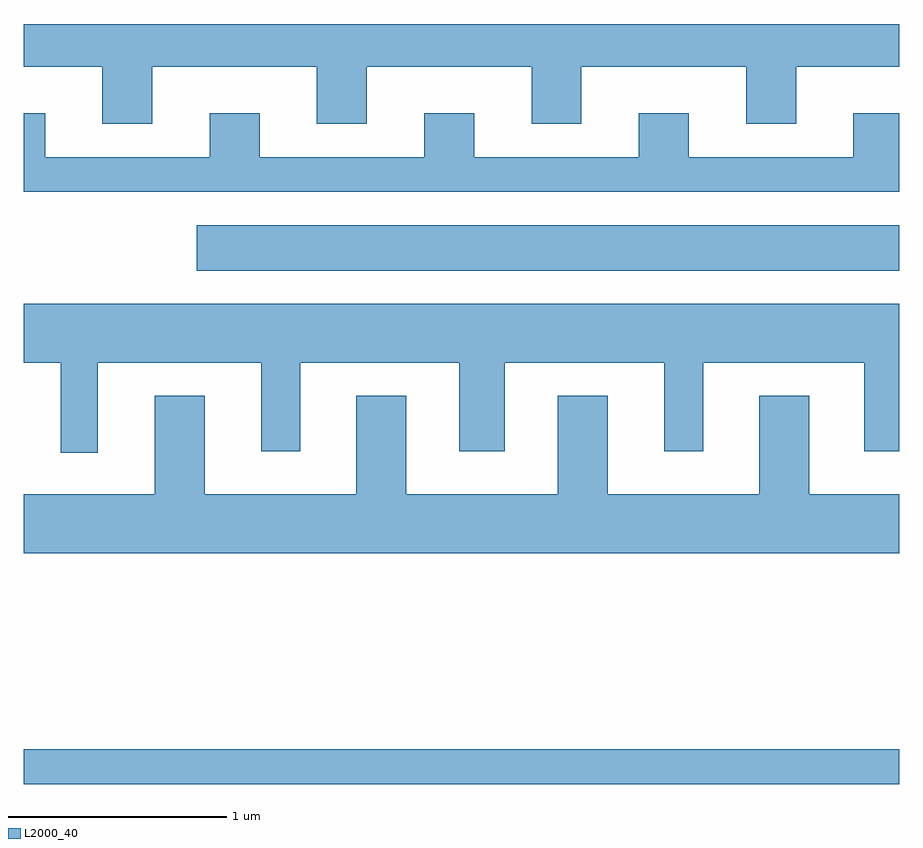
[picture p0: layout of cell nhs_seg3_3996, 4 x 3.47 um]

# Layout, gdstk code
import gdstk
lib = gdstk.Library(unit=1e-6, precision=1e-09)
def R(c, l, rs):  # rectangles x0, y0, x1, y1
    for r in rs: c.add(gdstk.rectangle(r[:2], r[2:], *l))
def P(c, l, *ps):  # polygons
    for p in ps: c.add(gdstk.Polygon(p, *l))
L2000_40 = (2000, 40)

nhs_seg3_3996 = lib.new_cell('nhs_seg3_3996')
R(nhs_seg3_3996, L2000_40, [(301.611,1220.421,305.611,1220.579), (302.401,1222.766,305.611,1222.974)])
P(nhs_seg3_3996, L2000_40, [(302.199,1223.696),(302.951,1223.696),(302.951,1223.436),(303.179,1223.436),(303.179,1223.696),(303.931,1223.696),(303.931,1223.436),(304.159,1223.436),(304.159,1223.696),(304.911,1223.696),(304.911,1223.436),(305.139,1223.436),(305.139,1223.696),(305.611,1223.696),(305.611,1223.892),(301.611,1223.892),(301.611,1223.696),(301.971,1223.696),(301.971,1223.436),(302.199,1223.436)],
  [(305.611,1223.484),(305.401,1223.484),(305.401,1223.284),(304.649,1223.284),(304.649,1223.484),(304.421,1223.484),(304.421,1223.284),(303.669,1223.284),(303.669,1223.484),(303.441,1223.484),(303.441,1223.284),(302.689,1223.284),(302.689,1223.484),(302.461,1223.484),(302.461,1223.284),(301.709,1223.284),(301.709,1223.484),(301.611,1223.484),(301.611,1223.126),(305.611,1223.126)],
  [(301.949,1222.346),(302.696,1222.346),(302.696,1221.941),(302.874,1221.941),(302.874,1222.346),(303.601,1222.346),(303.601,1221.941),(303.809,1221.941),(303.809,1222.346),(304.536,1222.346),(304.536,1221.941),(304.714,1221.941),(304.714,1222.346),(305.451,1222.346),(305.451,1221.941),(305.611,1221.941),(305.611,1222.614),(301.611,1222.614),(301.611,1222.346),(301.781,1222.346),(301.781,1221.933),(301.949,1221.933)],
  [(305.611,1221.744),(305.199,1221.744),(305.199,1222.194),(304.971,1222.194),(304.971,1221.744),(304.279,1221.744),(304.279,1222.194),(304.051,1222.194),(304.051,1221.744),(303.359,1221.744),(303.359,1222.194),(303.131,1222.194),(303.131,1221.744),(302.439,1221.744),(302.439,1222.194),(302.211,1222.194),(302.211,1221.744),(301.611,1221.744),(301.611,1221.476),(305.611,1221.476)])

lib.write_gds('nhs_seg3_3996.gds')
